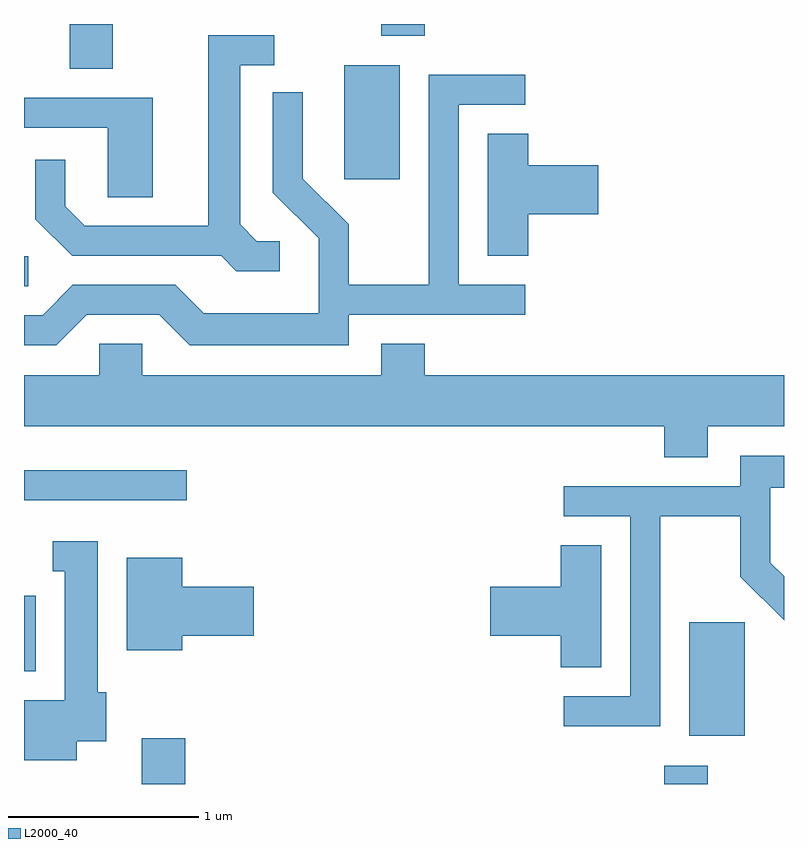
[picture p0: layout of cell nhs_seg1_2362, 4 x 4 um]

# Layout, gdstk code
import gdstk
lib = gdstk.Library(unit=1e-6, precision=1e-09)
def R(c, l, rs):  # rectangles x0, y0, x1, y1
    for r in rs: c.add(gdstk.rectangle(r[:2], r[2:], *l))
def P(c, l, *ps):  # polygons
    for p in ps: c.add(gdstk.Polygon(p, *l))
L2000_40 = (2000, 40)

nhs_seg1_2362 = lib.new_cell('nhs_seg1_2362')
R(nhs_seg1_2362, L2000_40, [(258.231,877.712,258.459,877.954), (260.981,877.712,261.209,877.809), (261.111,877.966,261.404,878.564), (257.611,878.306,257.674,878.704), (257.611,879.206,258.468,879.364), (257.611,880.331,257.633,880.489), (259.296,880.896,259.589,881.494), (257.851,881.476,258.079,881.712), (259.491,881.651,259.719,881.712)])
P(nhs_seg1_2362, L2000_40, [(258.957,880.569),(258.837,880.569),(258.749,880.657),(258.749,881.496),(258.928,881.496),(258.928,881.654),(258.581,881.654),(258.581,880.649),(257.932,880.649),(257.829,880.752),(257.829,880.998),(257.671,880.998),(257.671,880.684),(257.864,880.491),(258.649,880.491),(258.729,880.411),(258.957,880.411)],
  [(257.942,880.181),(258.324,880.181),(258.484,880.021),(259.319,880.021),(259.319,880.181),(260.248,880.181),(260.248,880.339),(259.899,880.339),(259.899,881.286),(260.248,881.286),(260.248,881.444),(259.741,881.444),(259.741,880.339),(259.319,880.339),(259.319,880.657),(259.079,880.897),(259.079,881.353),(258.921,881.353),(258.921,880.824),(259.161,880.584),(259.161,880.189),(258.557,880.189),(258.407,880.339),(257.868,880.339),(257.709,880.179),(257.611,880.179),(257.611,880.021),(257.782,880.021)],
  [(258.289,881.324),(257.611,881.324),(257.611,881.166),(258.051,881.166),(258.051,880.801),(258.289,880.801)],
  [(260.264,880.711),(260.634,880.711),(260.634,880.969),(260.264,880.969),(260.264,881.134),(260.051,881.134),(260.051,880.491),(260.264,880.491)],
  [(261.209,879.596),(261.611,879.596),(261.611,879.864),(259.719,879.864),(259.719,880.029),(259.491,880.029),(259.491,879.864),(258.234,879.864),(258.234,880.029),(258.006,880.029),(258.006,879.864),(257.611,879.864),(257.611,879.596),(260.981,879.596),(260.981,879.431),(261.209,879.431)],
  [(260.959,879.121),(261.381,879.121),(261.381,878.804),(261.611,878.574),(261.611,878.805),(261.539,878.877),(261.539,879.271),(261.611,879.271),(261.611,879.439),(261.381,879.439),(261.381,879.279),(260.453,879.279),(260.453,879.121),(260.801,879.121),(260.801,878.174),(260.453,878.174),(260.453,878.016),(260.959,878.016)],
  [(257.889,877.936),(258.044,877.936),(258.044,878.194),(257.999,878.194),(257.999,878.989),(257.763,878.989),(257.763,878.831),(257.826,878.831),(257.826,878.154),(257.611,878.154),(257.611,877.836),(257.889,877.836)],
  [(260.649,878.969),(260.436,878.969),(260.436,878.749),(260.066,878.749),(260.066,878.491),(260.436,878.491),(260.436,878.326),(260.649,878.326)],
  [(258.444,878.491),(258.819,878.491),(258.819,878.749),(258.444,878.749),(258.444,878.904),(258.151,878.904),(258.151,878.416),(258.444,878.416)])

lib.write_gds('nhs_seg1_2362.gds')
